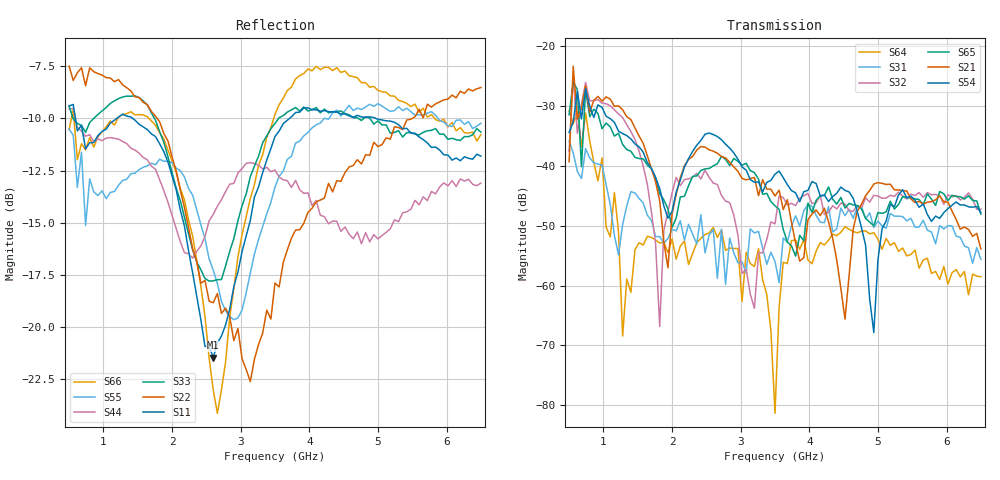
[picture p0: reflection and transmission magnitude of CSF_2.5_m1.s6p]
!Keysight Technologies,M9804A,MY58100912,A.14.10.03
!Date: Thursday, April 27, 2023 10:28:33
!Correction: S11(C  6-Port  )
!S12(C  6-Port  )
!S13(C  6-Port  )
!S14(C  6-Port  )
!S15(C  6-Port  )
!S16(C  6-Port  )
!S21(C  6-Port  )
!S22(C  6-Port  )
!S23(C  6-Port  )
!S24(C  6-Port  )
!S25(C  6-Port  )
!S26(C  6-Port  )
!S31(C  6-Port  )
!S32(C  6-Port  )
!S33(C  6-Port  )
!S34(C  6-Port  )
!S35(C  6-Port  )
!S36(C  6-Port  )
!S41(C  6-Port  )
!S42(C  6-Port  )
!S43(C  6-Port  )
!S44(C  6-Port  )
!S45(C  6-Port  )
!S46(C  6-Port  )
!S51(C  6-Port  )
!S52(C  6-Port  )
!S53(C  6-Port  )
!S54(C  6-Port  )
!S55(C  6-Port  )
!S56(C  6-Port  )
!S61(C  6-Port  )
!S62(C  6-Port  )
!S63(C  6-Port  )
!S64(C  6-Port  )
!S65(C  6-Port  )
!S66(C  6-Port  )
!S6P File: Measurement: :
# Hz S  RI  R 50
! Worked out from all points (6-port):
!   101 points, 500 MHz to 6.5 GHz, reference 50 ohm
!   strongest paths, dB at 500 MHz, 2 GHz, 3.5 GHz, 5 GHz, 6.5 GHz:
!     S54: -34.4, -47.6, -41.4, -55.7, -47.8
!     S21: -39.3, -48.1, -45.0, -42.8, -53.9
!     S65: -31.5, -50.3, -46.7, -47.8, -48.1
!     S32: -37.5, -44.5, -49.7, -45.0, -47.2
!     S31: -35.9, -50.6, -55.9, -49.2, -55.6
!     S64: -30.8, -52.2, -81.3, -52.3, -58.5
!   lowest |S11| = -21.5 dB at 2.6 GHz (marker M1), VSWR 1.18, Z = 42.5 + j2.15 ohm
!   |S11| at or under -10 dB: 591.7 MHz to 1.193 GHz (601 MHz wide, 67.4 % of centre); 1.427 GHz to 3.712 GHz (2.284 GHz wide, 88.9 % of centre); 4.97 GHz to end of sweep
